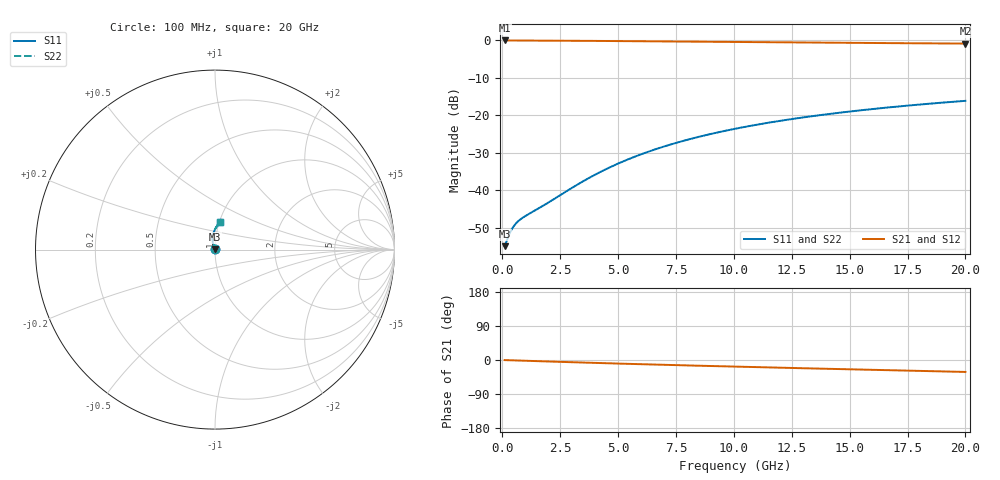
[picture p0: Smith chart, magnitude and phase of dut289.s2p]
! Touchstone file exported from HFSS 2024.1.0
!  File:  C:/UserFiles/LocalFiles/RDL_TSV_Batchsim/temp_RDL_top_289_1778690382.aedt
!  Generated:  12:41:36 AM May 14, 2026
!  Design:  RDL_top
!  Project:  temp_RDL_top_289_1778690382
!  Setup:  Setup1
!  Solution:  Sweep
! Variables:
!  dtsv = 10.80580581um
!  hbump = 3um
!  htsv = 83.67um
!  ldown = 100um
!  lrdl = 560.13um
!  p = 40
!  p1 = 40.2um
!  rhole = 1um
!  t = 450um
!  tdown = 3.915915916um
!  trdl = 4.77um
!  wdown = 15.38538539um
!  wrdl = 29.61um
# GHz S MA R 50.000000
! Terminal data exported
! Port[1] = Box2_T1
! Port[2] = Box2_T2
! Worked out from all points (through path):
!   200 points, 100 MHz to 20 GHz, reference 50 ohm
!   highest |S21| = -0.01 dB at 100 MHz (marker M1); lowest = -0.8 dB at 20 GHz (marker M2)
!   group delay of S21, straight-line fit = 4.29 ps
!   lowest |S11| = -54.9 dB at 100 MHz (marker M3), VSWR 1.00, Z = 50.2 + j0.062 ohm
!   |S11| at or under -10 dB: start of sweep to end of sweep
!   |S22| runs from -54.9 to -16.1 dB; largest |S21 - S12| = 4.1e-15
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0.1  0.001794 20.2  0.9983 -0.2  0.9983 -0.2  0.001794 20.2
! Gamma 0 0 0 0
! Port Impedance 50 0 50 0
0.3  0.002578 40.9  0.9978 -0.6  0.9978 -0.6  0.00258 40.8
0.4  0.002979 45.2  0.9976 -0.8  0.9976 -0.8  0.00298 45.1
0.5  0.003331 48.1  0.9974 -1.0  0.9974 -1.0  0.00333 47.9
0.6  0.003632 50.4  0.9972 -1.2  0.9972 -1.2  0.00363 50.2
0.7  0.003894 52.6  0.9971 -1.4  0.9971 -1.4  0.00389 52.4
1  0.004538 59.2  0.9965 -2.0  0.9965 -2.0  0.004531 59.0
1.8  0.006308 78.0  0.9944 -3.6  0.9944 -3.6  0.0063 77.9
3.5  0.01324 102.1  0.9872 -6.8  0.9872 -6.8  0.01323 102.1
4.3  0.01796 106.4  0.9828 -8.2  0.9828 -8.2  0.01795 106.4
5.1  0.02341 108.3  0.9781 -9.6  0.9781 -9.6  0.0234 108.4
5.9  0.02945 108.8  0.9733 -11.0  0.9733 -11.0  0.02944 108.8
6.8  0.0368 108.1  0.9679 -12.4  0.9679 -12.4  0.03679 108.2
7.6  0.0437 107.0  0.9631 -13.7  0.9631 -13.7  0.04369 107.0
8.4  0.05086 105.5  0.9585 -15.0  0.9585 -15.0  0.05085 105.5
9.2  0.0582 103.8  0.954 -16.2  0.954 -16.2  0.05818 103.8
10.1  0.06658 101.7  0.9492 -17.5  0.9492 -17.5  0.06657 101.8
11.7  0.08164 97.9  0.9412 -19.9  0.9412 -19.9  0.08163 97.9
13.4  0.0976 93.8  0.9333 -22.3  0.9333 -22.3  0.09758 93.8
15  0.1124 90.1  0.9264 -24.6  0.9264 -24.6  0.1124 90.1
16.7  0.1277 86.2  0.9196 -27.0  0.9196 -27.0  0.1277 86.2
20  0.1561 79.2  0.9075 -31.5  0.9075 -31.5  0.1561 79.3
